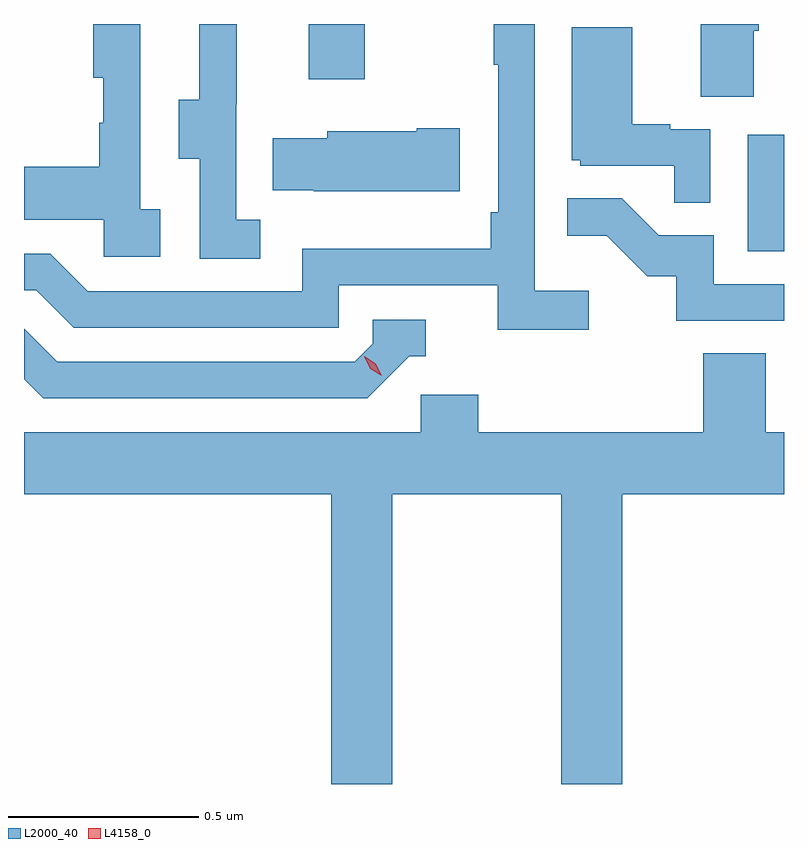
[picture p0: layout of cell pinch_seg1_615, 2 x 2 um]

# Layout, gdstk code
import gdstk
lib = gdstk.Library(unit=1e-6, precision=1e-09)
def R(c, l, rs):  # rectangles x0, y0, x1, y1
    for r in rs: c.add(gdstk.rectangle(r[:2], r[2:], *l))
def P(c, l, *ps):  # polygons
    for p in ps: c.add(gdstk.Polygon(p, *l))
L2000_40 = (2000, 40)
L4158_0 = (4158, 0)

pinch_seg1_615 = lib.new_cell('pinch_seg1_615')
R(pinch_seg1_615, L2000_40, [(1058.468,517.74,1058.564,518.047), (1057.313,518.193,1057.461,518.338)])
P(pinch_seg1_615, L2000_40, [(1058.485,518.32),(1058.498,518.32),(1058.498,518.338),(1058.345,518.338),(1058.345,518.146),(1058.485,518.146)],
  [(1056.922,517.85),(1056.87,517.85),(1056.87,518.338),(1056.746,518.338),(1056.746,518.196),(1056.772,518.196),(1056.772,518.078),(1056.762,518.078),(1056.762,517.963),(1056.564,517.963),(1056.564,517.823),(1056.774,517.823),(1056.774,517.725),(1056.922,517.725)],
  [(1058.05,517.636),(1057.908,517.636),(1057.908,518.338),(1057.8,518.338),(1057.8,518.231),(1057.812,518.231),(1057.812,517.843),(1057.792,517.843),(1057.792,517.747),(1057.296,517.747),(1057.296,517.635),(1056.732,517.635),(1056.633,517.734),(1056.564,517.734),(1056.564,517.638),(1056.596,517.638),(1056.695,517.539),(1057.392,517.539),(1057.392,517.65),(1057.811,517.65),(1057.811,517.534),(1058.05,517.534)],
  [(1057.186,517.823),(1057.122,517.823),(1057.122,518.127),(1057.124,518.127),(1057.124,518.338),(1057.025,518.338),(1057.025,518.139),(1056.971,518.139),(1056.971,517.984),(1057.026,517.984),(1057.026,517.72),(1057.186,517.72)],
  [(1058.37,518.061),(1058.264,518.061),(1058.264,518.074),(1058.164,518.074),(1058.164,518.329),(1058.006,518.329),(1058.006,517.98),(1058.028,517.98),(1058.028,517.965),(1058.275,517.965),(1058.275,517.867),(1058.37,517.867)],
  [(1057.711,518.064),(1057.598,518.064),(1057.598,518.056),(1057.362,518.056),(1057.362,518.038),(1057.219,518.038),(1057.219,517.901),(1057.327,517.901),(1057.327,517.898),(1057.711,517.898)],
  [(1058.564,517.653),(1058.379,517.653),(1058.379,517.782),(1058.235,517.782),(1058.137,517.88),(1057.993,517.88),(1057.993,517.781),(1058.097,517.781),(1058.204,517.674),(1058.281,517.674),(1058.281,517.557),(1058.564,517.557)],
  [(1057.578,517.464),(1057.621,517.464),(1057.621,517.56),(1057.482,517.56),(1057.482,517.497),(1057.434,517.449),(1056.651,517.449),(1056.564,517.536),(1056.564,517.403),(1056.614,517.353),(1057.467,517.353)],
  [(1057.533,517.1),(1057.978,517.1),(1057.978,516.338),(1058.138,516.338),(1058.138,517.1),(1058.564,517.1),(1058.564,517.264),(1058.516,517.264),(1058.516,517.472),(1058.351,517.472),(1058.351,517.264),(1057.76,517.264),(1057.76,517.362),(1057.608,517.362),(1057.608,517.264),(1056.564,517.264),(1056.564,517.1),(1057.373,517.1),(1057.373,516.338),(1057.533,516.338)])
P(pinch_seg1_615, L4158_0, [(1057.506,517.412),(1057.475,517.431),(1057.459,517.464),(1057.459,517.464),(1057.46,517.464),(1057.49,517.444),(1057.506,517.412),(1057.506,517.412)])

lib.write_gds('pinch_seg1_615.gds')
